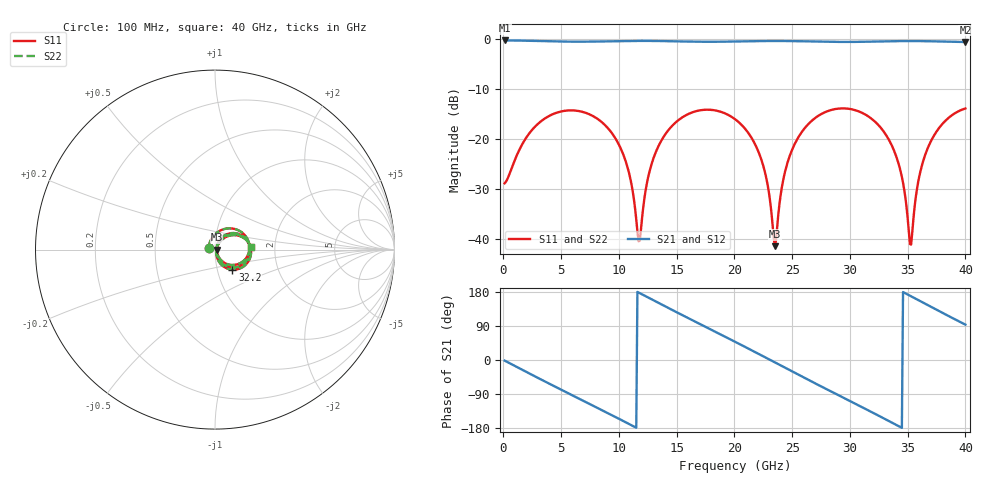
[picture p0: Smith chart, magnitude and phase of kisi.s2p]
! thru_BV_ts_refinout2_q050_out: 2×thru B.Cu, 8 mm
! stackup: as the board case
! ports: 1 near, 2 far
! kisi-fdtd, conformal, dfine 0.05 mm, 293760 cells
# Hz S RI R 50
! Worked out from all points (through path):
!   400 points, 100 MHz to 40 GHz, reference 50 ohm
!   highest |S21| = -0.33 dB at 100 MHz (marker M1); lowest = -0.6 dB at 40 GHz (marker M2)
!   group delay of S21, straight-line fit = 43.5 ps
!   lowest |S11| = -41.4 dB at 23.5 GHz (marker M3), VSWR 1.02, Z = 50.8 - j0.12 ohm
!   |S11| at or under -10 dB: start of sweep to end of sweep
!   |S22| runs from -41.4 to -13.9 dB; largest |S21 - S12| = 0
!   S11 on the Smith chart (normalised r, x): 100 MHz: 0.93, +0.01; 32.2 GHz: 1.18, -0.27; 40 GHz: 1.50, +0.04
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1e8  -0.0356 0.00615  0.9622 -0.0268  0.9622 -0.0268  -0.0356 0.00615
3.7e9  0.1184 0.1124  0.4964 -0.806  0.4964 -0.806  0.1184 0.1124
6.8e9  0.1852 -0.0258  -0.2541 -0.9008  -0.2541 -0.9008  0.1852 -0.0258
1.02e10  0.0418 -0.0662  -0.8818 -0.3519  -0.8818 -0.3519  0.0418 -0.0662
1.11e10  0.0156 -0.0308  -0.9441 -0.1252  -0.9441 -0.1252  0.0156 -0.0308
1.17e10  0.00929 -0.00204  -0.9527 0.0325  -0.9527 0.0325  0.00929 -0.00204
1.25e10  0.0162 0.0366  -0.9219 0.241  -0.9219 0.241  0.0162 0.0366
1.34e10  0.0429 0.0719  -0.8321 0.4594  -0.8321 0.4594  0.0429 0.0719
1.68e10  0.1876 0.0351  -0.1332 0.926  -0.1332 0.926  0.1876 0.0351
2.01e10  0.1219 -0.0974  0.6356 0.6923  0.6356 0.6923  0.1219 -0.0974
2.24e10  0.0213 -0.0548  0.9312 0.1856  0.9312 0.1856  0.0213 -0.0548
2.35e10  0.00842 -0.00118  0.9456 -0.1038  0.9456 -0.1038  0.00842 -0.00118
2.46e10  0.0287 0.0506  0.8689 -0.3837  0.8689 -0.3837  0.0287 0.0506
2.67e10  0.1272 0.0831  0.5111 -0.7895  0.5111 -0.7895  0.1272 0.0831
2.94e10  0.2003 -0.026  -0.145 -0.9192  -0.145 -0.9192  0.2003 -0.026
3.22e10  0.0969 -0.1115  -0.7439 -0.5727  -0.7439 -0.5727  0.0969 -0.1115
3.34e10  0.0401 -0.0883  -0.8958 -0.301  -0.8958 -0.301  0.0401 -0.0883
3.45e10  0.0103 -0.0404  -0.9488 -0.0153  -0.9488 -0.0153  0.0103 -0.0404
3.53e10  0.00876 0.00114  -0.929 0.1972  -0.929 0.1972  0.00876 0.00114
3.59e10  0.0195 0.0309  -0.8818 0.3506  -0.8818 0.3506  0.0195 0.0309
3.67e10  0.048 0.0626  -0.7791 0.537  -0.7791 0.537  0.048 0.0626
4e10  0.2011 0.0142  -0.0532 0.927  -0.0532 0.927  0.2011 0.0142
